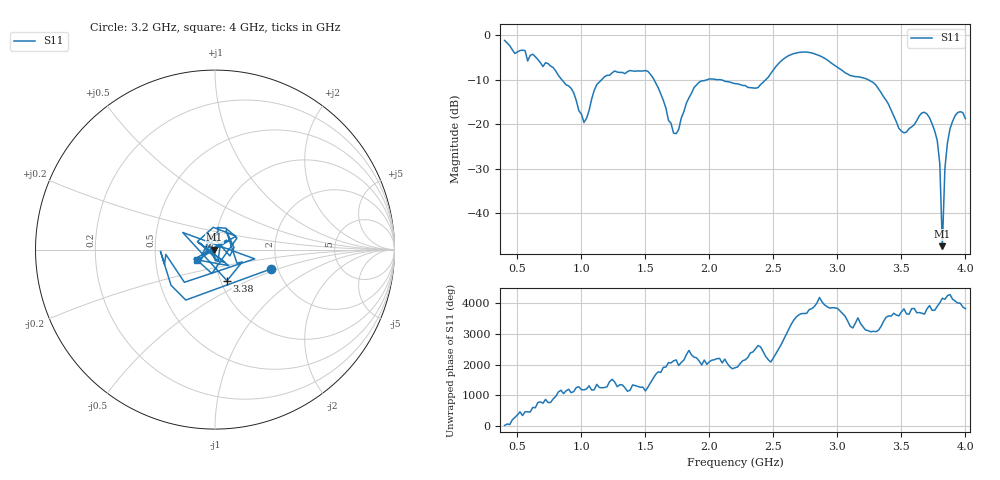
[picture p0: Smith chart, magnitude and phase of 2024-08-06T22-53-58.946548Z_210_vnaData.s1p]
!Created with skrf (http://scikit-rf.org).
# Hz S RI R 50.0
!freq ReS11 ImS11
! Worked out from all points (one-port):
!   181 points, 400 MHz to 4 GHz, reference 50 ohm
!   lowest |S11| = -47.5 dB at 3.82 GHz (marker M1), VSWR 1.01, Z = 49.6 - j0.0588 ohm
!   |S11| at or under -10 dB: 1.567 GHz to 1.985 GHz (418.3 MHz wide, 23.6 % of centre); 2.056 GHz to 2.441 GHz (384.8 MHz wide, 17.1 % of centre); 3.238 GHz to end of sweep (the widest 3 of 4)
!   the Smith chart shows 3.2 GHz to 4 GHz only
!   S11 on the Smith chart (normalised r, x): 3.2 GHz: 1.84, -0.44; 3.38 GHz: 1.07, -0.38; 4 GHz: 0.81, -0.10
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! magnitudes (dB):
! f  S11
! 400 MHz  -1.2
! 860 MHz  -10.5
! 940 MHz  -13.0
! 1.02 GHz  -19.6
! 1.12 GHz  -11.1
! 1.3 GHz  -8.4
! 1.52 GHz  -8.2
! 1.6 GHz  -11.8
! 1.72 GHz  -22.1
! 1.76 GHz  -21.2
! 1.82 GHz  -15.3
! 1.92 GHz  -10.6
! 2.2 GHz  -10.9
! 2.38 GHz  -11.8
! 2.66 GHz  -4.1
! 3.1 GHz  -9.1
! 3.2 GHz  -9.6
! 3.38 GHz  -14.6
! 3.48 GHz  -20.9
! 3.56 GHz  -21.0
! 3.68 GHz  -17.3
! 3.76 GHz  -21.6
! 3.8 GHz  -28.9
! 3.82 GHz  -47.5
! 3.84 GHz  -29.9
! 3.86 GHz  -24.2
! 3.92 GHz  -18.1
! 4 GHz  -18.8
